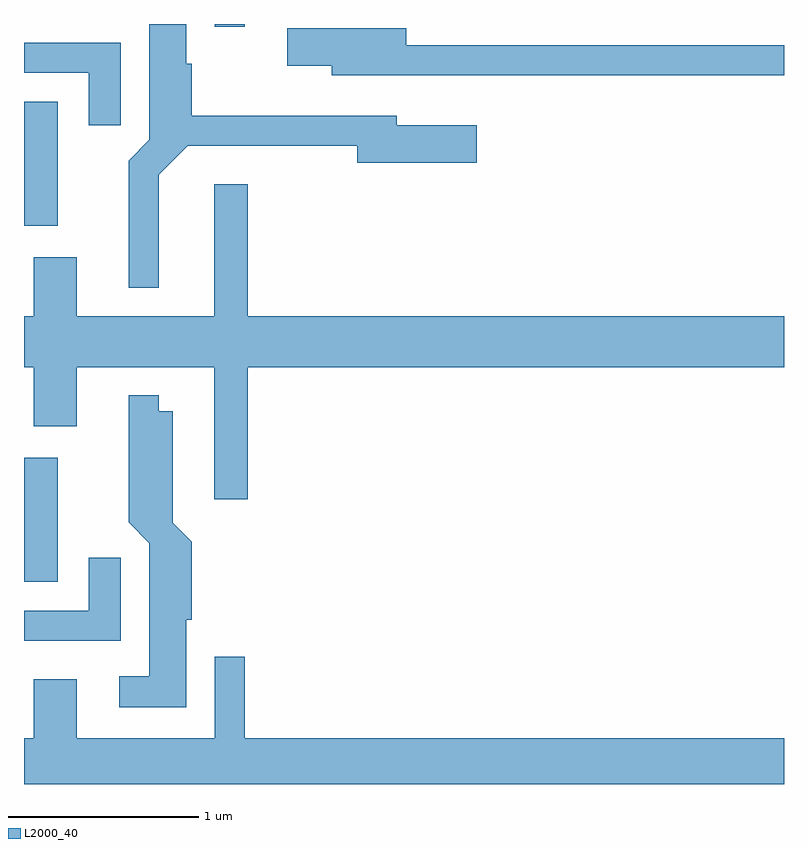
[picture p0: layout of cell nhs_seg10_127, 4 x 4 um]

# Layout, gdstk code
import gdstk
lib = gdstk.Library(unit=1e-6, precision=1e-09)
def R(c, l, rs):  # rectangles x0, y0, x1, y1
    for r in rs: c.add(gdstk.rectangle(r[:2], r[2:], *l))
def P(c, l, *ps):  # polygons
    for p in ps: c.add(gdstk.Polygon(p, *l))
L2000_40 = (2000, 40)

nhs_seg10_127 = lib.new_cell('nhs_seg10_127')
R(nhs_seg10_127, L2000_40, [(187.611,2201.586,187.789,2202.239), (187.611,2203.461,187.789,2204.114), (188.616,2204.508,188.774,2204.522)])
P(nhs_seg10_127, L2000_40, [(188.319,2203.729),(188.472,2203.881),(189.366,2203.881),(189.366,2203.791),(189.994,2203.791),(189.994,2203.989),(189.574,2203.989),(189.574,2204.039),(188.494,2204.039),(188.494,2204.314),(188.464,2204.314),(188.464,2204.522),(188.271,2204.522),(188.271,2203.912),(188.161,2203.802),(188.161,2203.133),(188.319,2203.133)],
  [(191.611,2204.409),(189.624,2204.409),(189.624,2204.499),(188.996,2204.499),(188.996,2204.301),(189.231,2204.301),(189.231,2204.251),(191.611,2204.251)],
  [(188.119,2204.424),(187.611,2204.424),(187.611,2204.266),(187.951,2204.266),(187.951,2203.988),(188.119,2203.988)],
  [(188.789,2202.716),(191.611,2202.716),(191.611,2202.984),(188.789,2202.984),(188.789,2203.679),(188.611,2203.679),(188.611,2202.984),(187.889,2202.984),(187.889,2203.294),(187.661,2203.294),(187.661,2202.984),(187.611,2202.984),(187.611,2202.716),(187.661,2202.716),(187.661,2202.406),(187.889,2202.406),(187.889,2202.716),(188.611,2202.716),(188.611,2202.021),(188.789,2202.021)],
  [(188.464,2201.386),(188.494,2201.386),(188.494,2201.797),(188.394,2201.897),(188.394,2202.484),(188.319,2202.484),(188.319,2202.568),(188.161,2202.568),(188.161,2201.899),(188.271,2201.789),(188.271,2201.089),(188.113,2201.089),(188.113,2200.926),(188.464,2200.926)],
  [(188.119,2201.713),(187.951,2201.713),(187.951,2201.434),(187.611,2201.434),(187.611,2201.276),(188.119,2201.276)],
  [(191.611,2200.764),(188.774,2200.764),(188.774,2201.193),(188.616,2201.193),(188.616,2200.764),(187.889,2200.764),(187.889,2201.074),(187.661,2201.074),(187.661,2200.764),(187.611,2200.764),(187.611,2200.522),(191.611,2200.522)])

lib.write_gds('nhs_seg10_127.gds')
